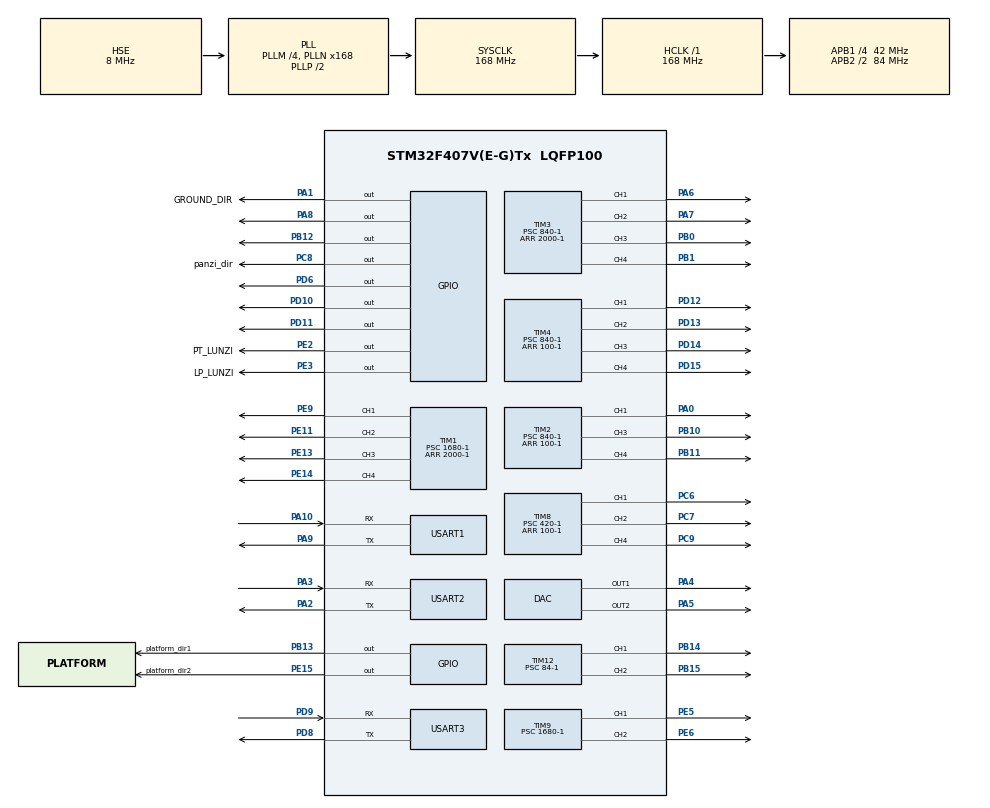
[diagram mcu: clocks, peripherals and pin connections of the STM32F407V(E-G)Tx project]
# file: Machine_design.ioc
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DAC.DAC_OutputBuffer2=DAC_OUTPUTBUFFER_ENABLE
DAC.DAC_Trigger2=DAC_TRIGGER_NONE
Dma.Request0=USART2_RX
Dma.Request1=USART2_TX
Dma.Request2=USART1_RX
Dma.Request3=USART1_TX
Dma.Request4=USART3_RX
Dma.Request5=USART3_TX
Dma.USART1_RX.2.Direction=DMA_PERIPH_TO_MEMORY
Dma.USART1_RX.2.FIFOMode=DMA_FIFOMODE_DISABLE
Dma.USART1_RX.2.Instance=DMA2_Stream2
Dma.USART1_RX.2.MemDataAlignment=DMA_MDATAALIGN_BYTE
Dma.USART1_RX.2.MemInc=DMA_MINC_ENABLE
Dma.USART1_RX.2.Mode=DMA_NORMAL
Dma.USART1_RX.2.PeriphDataAlignment=DMA_PDATAALIGN_BYTE
Dma.USART1_RX.2.PeriphInc=DMA_PINC_DISABLE
Dma.USART1_RX.2.Priority=DMA_PRIORITY_LOW
Dma.USART1_TX.3.Direction=DMA_MEMORY_TO_PERIPH
Dma.USART1_TX.3.FIFOMode=DMA_FIFOMODE_DISABLE
Dma.USART1_TX.3.Instance=DMA2_Stream7
Dma.USART1_TX.3.MemDataAlignment=DMA_MDATAALIGN_BYTE
Dma.USART1_TX.3.MemInc=DMA_MINC_ENABLE
Dma.USART1_TX.3.Mode=DMA_NORMAL
Dma.USART1_TX.3.PeriphDataAlignment=DMA_PDATAALIGN_BYTE
Dma.USART1_TX.3.PeriphInc=DMA_PINC_DISABLE
Dma.USART1_TX.3.Priority=DMA_PRIORITY_LOW
Dma.USART2_RX.0.Direction=DMA_PERIPH_TO_MEMORY
Dma.USART2_RX.0.FIFOMode=DMA_FIFOMODE_DISABLE
Dma.USART2_RX.0.Instance=DMA1_Stream5
Dma.USART2_RX.0.MemDataAlignment=DMA_MDATAALIGN_BYTE
Dma.USART2_RX.0.MemInc=DMA_MINC_ENABLE
Dma.USART2_RX.0.Mode=DMA_NORMAL
Dma.USART2_RX.0.PeriphDataAlignment=DMA_PDATAALIGN_BYTE
Dma.USART2_RX.0.PeriphInc=DMA_PINC_DISABLE
Dma.USART2_RX.0.Priority=DMA_PRIORITY_LOW
Dma.USART2_TX.1.Direction=DMA_MEMORY_TO_PERIPH
Dma.USART2_TX.1.FIFOMode=DMA_FIFOMODE_DISABLE
Dma.USART2_TX.1.Instance=DMA1_Stream6
Dma.USART2_TX.1.MemDataAlignment=DMA_MDATAALIGN_BYTE
Dma.USART2_TX.1.MemInc=DMA_MINC_ENABLE
Dma.USART2_TX.1.Mode=DMA_NORMAL
Dma.USART2_TX.1.PeriphDataAlignment=DMA_PDATAALIGN_BYTE
Dma.USART2_TX.1.PeriphInc=DMA_PINC_DISABLE
Dma.USART2_TX.1.Priority=DMA_PRIORITY_LOW
Dma.USART3_RX.4.Direction=DMA_PERIPH_TO_MEMORY
Dma.USART3_RX.4.FIFOMode=DMA_FIFOMODE_DISABLE
Dma.USART3_RX.4.Instance=DMA1_Stream1
Dma.USART3_RX.4.MemDataAlignment=DMA_MDATAALIGN_BYTE
Dma.USART3_RX.4.MemInc=DMA_MINC_ENABLE
Dma.USART3_RX.4.Mode=DMA_NORMAL
Dma.USART3_RX.4.PeriphDataAlignment=DMA_PDATAALIGN_BYTE
Dma.USART3_RX.4.PeriphInc=DMA_PINC_DISABLE
Dma.USART3_RX.4.Priority=DMA_PRIORITY_LOW
Dma.USART3_TX.5.Direction=DMA_MEMORY_TO_PERIPH
Dma.USART3_TX.5.FIFOMode=DMA_FIFOMODE_DISABLE
Dma.USART3_TX.5.Instance=DMA1_Stream3
Dma.USART3_TX.5.MemDataAlignment=DMA_MDATAALIGN_BYTE
Dma.USART3_TX.5.MemInc=DMA_MINC_ENABLE
Dma.USART3_TX.5.Mode=DMA_NORMAL
Dma.USART3_TX.5.PeriphDataAlignment=DMA_PDATAALIGN_BYTE
Dma.USART3_TX.5.PeriphInc=DMA_PINC_DISABLE
Dma.USART3_TX.5.Priority=DMA_PRIORITY_LOW
FREERTOS.Queues01=myQueue01,16,128,1,Dynamic,NULL,NULL
FREERTOS.Tasks01=MainTask,24,256,StartMainTask,Default,NULL,Dynamic,NULL,NULL;TaskState,24,256,StartStateUart,Default,NULL,Dynamic,NULL,NULL;SecondTask,24,256,StartSecondTask,Default,NULL,Dynamic,NULL,NULL
Mcu.Family=STM32F4
Mcu.Name=STM32F407V(E-G)Tx
Mcu.Package=LQFP100
NVIC.DMA1_Stream1_IRQn=true\:5\:0\:false\:false\:true\:true\:false\:true\:true
NVIC.DMA1_Stream3_IRQn=true\:5\:0\:false\:false\:true\:true\:false\:true\:true
NVIC.DMA1_Stream5_IRQn=true\:5\:0\:false\:false\:true\:true\:false\:true\:true
NVIC.DMA1_Stream6_IRQn=true\:5\:0\:false\:false\:true\:true\:false\:true\:true
NVIC.DMA2_Stream2_IRQn=true\:5\:0\:false\:false\:true\:true\:false\:true\:true
NVIC.DMA2_Stream7_IRQn=true\:5\:0\:false\:false\:true\:true\:false\:true\:true
NVIC.PriorityGroup=NVIC_PRIORITYGROUP_4
NVIC.TIM1_BRK_TIM9_IRQn=true\:5\:0\:false\:false\:true\:true\:true\:true\:true
NVIC.TIM7_IRQn=true\:15\:0\:false\:false\:true\:false\:false\:true\:true
NVIC.TimeBase=TIM7_IRQn
NVIC.TimeBaseIP=TIM7
NVIC.USART1_IRQn=true\:5\:0\:false\:false\:true\:true\:true\:true\:true
NVIC.USART2_IRQn=true\:5\:0\:false\:false\:true\:true\:true\:true\:true
NVIC.USART3_IRQn=true\:5\:0\:false\:false\:true\:true\:true\:true\:true
PA0-WKUP.Signal=S_TIM2_CH1_ETR
PA1.GPIO_Label=GROUND_DIR
PA1.Signal=GPIO_Output
PA10.Mode=Asynchronous
PA10.Signal=USART1_RX
PA13.Mode=Serial_Wire
PA13.Signal=SYS_JTMS-SWDIO
PA14.Mode=Serial_Wire
PA14.Signal=SYS_JTCK-SWCLK
PA2.Mode=Asynchronous
PA2.Signal=USART2_TX
PA3.Mode=Asynchronous
PA3.Signal=USART2_RX
PA4.Signal=COMP_DAC1_group
PA5.Signal=COMP_DAC2_group
PA6.Signal=S_TIM3_CH1
PA7.Signal=S_TIM3_CH2
PA8.PinState=GPIO_PIN_SET
PA8.Signal=GPIO_Output
PA9.Mode=Asynchronous
PA9.Signal=USART1_TX
PB0.Signal=S_TIM3_CH3
PB1.Signal=S_TIM3_CH4
PB10.Signal=S_TIM2_CH3
PB11.Signal=S_TIM2_CH4
PB12.GPIO_ModeDefaultOutputPP=GPIO_MODE_OUTPUT_PP
PB12.PinState=GPIO_PIN_SET
PB12.Signal=GPIO_Output
PB13.GPIO_Label=platform_dir1
PB13.Signal=GPIO_Output
PB14.Signal=S_TIM12_CH1
PB15.Signal=S_TIM12_CH2
PC6.Signal=S_TIM8_CH1
PC7.Signal=S_TIM8_CH2
PC8.GPIO_Label=panzi_dir
PC8.Signal=GPIO_Output
PC9.Signal=S_TIM8_CH4
PD10.GPIO_ModeDefaultOutputPP=GPIO_MODE_OUTPUT_PP
PD10.PinState=GPIO_PIN_SET
PD10.Signal=GPIO_Output
PD11.PinState=GPIO_PIN_RESET
PD11.Signal=GPIO_Output
PD12.Signal=S_TIM4_CH1
PD13.Signal=S_TIM4_CH2
PD14.Signal=S_TIM4_CH3
PD15.Signal=S_TIM4_CH4
PD6.PinState=GPIO_PIN_RESET
PD6.Signal=GPIO_Output
PD8.Mode=Asynchronous
PD8.Signal=USART3_TX
PD9.Mode=Asynchronous
PD9.Signal=USART3_RX
PE11.Signal=S_TIM1_CH2
PE13.Signal=S_TIM1_CH3
PE14.Signal=S_TIM1_CH4
PE15.GPIO_Label=platform_dir2
PE15.Signal=GPIO_Output
PE2.GPIO_Label=PT_LUNZI
PE2.Signal=GPIO_Output
PE3.GPIO_Label=LP_LUNZI
PE3.Signal=GPIO_Output
PE5.Signal=S_TIM9_CH1
PE6.Signal=S_TIM9_CH2
PE9.Signal=S_TIM1_CH1
PH0-OSC_IN.Mode=HSE-External-Oscillator
PH0-OSC_IN.Signal=RCC_OSC_IN
PH1-OSC_OUT.Mode=HSE-External-Oscillator
PH1-OSC_OUT.Signal=RCC_OSC_OUT
ProjectManager.HeapSize=0x200
ProjectManager.StackSize=0x400
ProjectManager.TargetToolchain=MDK-ARM V5.32
RCC.48MHZClocksFreq_Value=84000000
RCC.AHBFreq_Value=168000000
RCC.APB1CLKDivider=RCC_HCLK_DIV4
RCC.APB1Freq_Value=42000000
RCC.APB1TimFreq_Value=84000000
RCC.APB2CLKDivider=RCC_HCLK_DIV2
RCC.APB2Freq_Value=84000000
RCC.APB2TimFreq_Value=168000000
RCC.CortexFreq_Value=168000000
RCC.HCLKFreq_Value=168000000
RCC.HSE_VALUE=8000000
RCC.HSI_VALUE=16000000
RCC.LSE_VALUE=32768
RCC.PLLM=4
RCC.PLLN=168
RCC.PLLSourceVirtual=RCC_PLLSOURCE_HSE
RCC.SYSCLKFreq_VALUE=168000000
RCC.SYSCLKSource=RCC_SYSCLKSOURCE_PLLCLK
RCC.VCOOutputFreq_Value=336000000
SH.COMP_DAC1_group.0=DAC_OUT1,DAC_OUT1
SH.COMP_DAC2_group.0=DAC_OUT2,DAC_OUT2
SH.S_TIM12_CH1.0=TIM12_CH1,PWM Generation1 CH1
SH.S_TIM12_CH2.0=TIM12_CH2,PWM Generation2 CH2
SH.S_TIM1_CH1.0=TIM1_CH1,PWM Generation1 CH1
SH.S_TIM1_CH2.0=TIM1_CH2,PWM Generation2 CH2
SH.S_TIM1_CH3.0=TIM1_CH3,PWM Generation3 CH3
SH.S_TIM1_CH4.0=TIM1_CH4,PWM Generation4 CH4
SH.S_TIM2_CH1_ETR.0=TIM2_CH1,PWM Generation1 CH1
SH.S_TIM2_CH3.0=TIM2_CH3,PWM Generation3 CH3
SH.S_TIM2_CH4.0=TIM2_CH4,PWM Generation4 CH4
SH.S_TIM3_CH1.0=TIM3_CH1,PWM Generation1 CH1
SH.S_TIM3_CH2.0=TIM3_CH2,PWM Generation2 CH2
SH.S_TIM3_CH3.0=TIM3_CH3,PWM Generation3 CH3
SH.S_TIM3_CH4.0=TIM3_CH4,PWM Generation4 CH4
SH.S_TIM4_CH1.0=TIM4_CH1,PWM Generation1 CH1
SH.S_TIM4_CH2.0=TIM4_CH2,PWM Generation2 CH2
SH.S_TIM4_CH3.0=TIM4_CH3,PWM Generation3 CH3
SH.S_TIM4_CH4.0=TIM4_CH4,PWM Generation4 CH4
SH.S_TIM8_CH1.0=TIM8_CH1,PWM Generation1 CH1
SH.S_TIM8_CH2.0=TIM8_CH2,PWM Generation2 CH2
SH.S_TIM8_CH4.0=TIM8_CH4,PWM Generation4 CH4
SH.S_TIM9_CH1.0=TIM9_CH1,PWM Generation1 CH1
SH.S_TIM9_CH2.0=TIM9_CH2,PWM Generation2 CH2
TIM1.AutoReloadPreload=TIM_AUTORELOAD_PRELOAD_ENABLE
TIM1.Channel-PWM\ Generation1\ CH1=TIM_CHANNEL_1
TIM1.Channel-PWM\ Generation2\ CH2=TIM_CHANNEL_2
TIM1.Channel-PWM\ Generation3\ CH3=TIM_CHANNEL_3
TIM1.Channel-PWM\ Generation4\ CH4=TIM_CHANNEL_4
TIM1.Period=2000-1
TIM1.Prescaler=1680-1
TIM12.AutoReloadPreload=TIM_AUTORELOAD_PRELOAD_ENABLE
TIM12.Channel-PWM\ Generation1\ CH1=TIM_CHANNEL_1
TIM12.Channel-PWM\ Generation2\ CH2=TIM_CHANNEL_2
TIM12.Period=100-1
TIM12.Prescaler=84-1
TIM2.AutoReloadPreload=TIM_AUTORELOAD_PRELOAD_ENABLE
TIM2.Channel-PWM\ Generation1\ CH1=TIM_CHANNEL_1
TIM2.Channel-PWM\ Generation3\ CH3=TIM_CHANNEL_3
TIM2.Channel-PWM\ Generation4\ CH4=TIM_CHANNEL_4
TIM2.Period=100-1
TIM2.Prescaler=840-1
TIM3.AutoReloadPreload=TIM_AUTORELOAD_PRELOAD_ENABLE
TIM3.Channel-PWM\ Generation1\ CH1=TIM_CHANNEL_1
TIM3.Channel-PWM\ Generation2\ CH2=TIM_CHANNEL_2
TIM3.Channel-PWM\ Generation3\ CH3=TIM_CHANNEL_3
TIM3.Channel-PWM\ Generation4\ CH4=TIM_CHANNEL_4
TIM3.Period=2000-1
TIM3.Prescaler=840-1
TIM4.AutoReloadPreload=TIM_AUTORELOAD_PRELOAD_ENABLE
TIM4.Channel-PWM\ Generation1\ CH1=TIM_CHANNEL_1
TIM4.Channel-PWM\ Generation2\ CH2=TIM_CHANNEL_2
TIM4.Channel-PWM\ Generation3\ CH3=TIM_CHANNEL_3
TIM4.Channel-PWM\ Generation4\ CH4=TIM_CHANNEL_4
TIM4.Period=100-1
TIM4.Prescaler=840-1
TIM8.AutoReloadPreload=TIM_AUTORELOAD_PRELOAD_ENABLE
TIM8.Channel-PWM\ Generation1\ CH1=TIM_CHANNEL_1
TIM8.Channel-PWM\ Generation2\ CH2=TIM_CHANNEL_2
TIM8.Channel-PWM\ Generation4\ CH4=TIM_CHANNEL_4
TIM8.Period=100-1
TIM8.Prescaler=420-1
TIM9.AutoReloadPreload=TIM_AUTORELOAD_PRELOAD_ENABLE
TIM9.Channel-PWM\ Generation1\ CH1=TIM_CHANNEL_1
TIM9.Channel-PWM\ Generation2\ CH2=TIM_CHANNEL_2
TIM9.Period=100-1
TIM9.Prescaler=1680-1
USART1.VirtualMode=VM_ASYNC
USART2.VirtualMode=VM_ASYNC
USART3.VirtualMode=VM_ASYNC
VP_FREERTOS_VS_CMSIS_V2.Mode=CMSIS_V2
VP_SYS_VS_tim7.Mode=TIM7
VP_TIM12_VS_ClockSourceINT.Mode=Internal
VP_TIM1_VS_ClockSourceINT.Mode=Internal
VP_TIM2_VS_ClockSourceINT.Mode=Internal
VP_TIM3_VS_ClockSourceINT.Mode=Internal
VP_TIM4_VS_ClockSourceINT.Mode=Internal
VP_TIM8_VS_ClockSourceINT.Mode=Internal
VP_TIM9_VS_ClockSourceINT.Mode=Internal
board=custom

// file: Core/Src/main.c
/* USER CODE BEGIN Header */
/**
  ******************************************************************************
  * @file           : main.c
  * @brief          : Main program body
  ******************************************************************************
  * @attention
  *
  * Copyright (c) 2024 STMicroelectronics.
  * All rights reserved.
  *
  * This software is licensed under terms that can be found in the LICENSE file
  * in the root directory of this software component.
  * If no LICENSE file comes with this software, it is provided AS-IS.
  *
  ******************************************************************************
  */
/* USER CODE END Header */
#include "main.h"
#include "cmsis_os.h"
#include "dac.h"
#include "dma.h"
#include "tim.h"
#include "usart.h"
#include "gpio.h"

void SystemClock_Config(void);
void MX_FREERTOS_Init(void);

int main(void)
{

  /* MCU Configuration--------------------------------------------------------*/

  /* Reset of all peripherals, Initializes the Flash interface and the Systick. */
  HAL_Init();

  /* Configure the system clock */
  SystemClock_Config();

  /* Initialize all configured peripherals */
  MX_GPIO_Init();
  MX_DMA_Init();
  MX_USART2_UART_Init();
  MX_USART1_UART_Init();
  MX_TIM1_Init();
  MX_TIM2_Init();
  MX_TIM3_Init();
  MX_TIM4_Init();
  MX_TIM8_Init();
  MX_TIM9_Init();
  MX_TIM12_Init();
  MX_USART3_UART_Init();
  MX_DAC_Init();

  /* Init scheduler */
  osKernelInitialize();  /* Call init function for freertos objects (in freertos.c) */
  MX_FREERTOS_Init();

  /* Start scheduler */
  osKernelStart();
  /* We should never get here as control is now taken by the scheduler */
  /* Infinite loop */
  while (1)
  {

  }
}

void SystemClock_Config(void)
{
  RCC_OscInitTypeDef RCC_OscInitStruct = {0};
  RCC_ClkInitTypeDef RCC_ClkInitStruct = {0};

  /** Configure the main internal regulator output voltage
  */
  __HAL_RCC_PWR_CLK_ENABLE();
  __HAL_PWR_VOLTAGESCALING_CONFIG(PWR_REGULATOR_VOLTAGE_SCALE1);

  /** Initializes the RCC Oscillators according to the specified parameters
  * in the RCC_OscInitTypeDef structure.
  */
  RCC_OscInitStruct.OscillatorType = RCC_OSCILLATORTYPE_HSE;
  RCC_OscInitStruct.HSEState = RCC_HSE_ON;
  RCC_OscInitStruct.PLL.PLLState = RCC_PLL_ON;
  RCC_OscInitStruct.PLL.PLLSource = RCC_PLLSOURCE_HSE;
  RCC_OscInitStruct.PLL.PLLM = 4;
  RCC_OscInitStruct.PLL.PLLN = 168;
  RCC_OscInitStruct.PLL.PLLP = RCC_PLLP_DIV2;
  RCC_OscInitStruct.PLL.PLLQ = 4;
  if (HAL_RCC_OscConfig(&RCC_OscInitStruct) != HAL_OK)
  {
    Error_Handler();
  }

  /** Initializes the CPU, AHB and APB buses clocks
  */
  RCC_ClkInitStruct.ClockType = RCC_CLOCKTYPE_HCLK|RCC_CLOCKTYPE_SYSCLK
                              |RCC_CLOCKTYPE_PCLK1|RCC_CLOCKTYPE_PCLK2;
  RCC_ClkInitStruct.SYSCLKSource = RCC_SYSCLKSOURCE_PLLCLK;
  RCC_ClkInitStruct.AHBCLKDivider = RCC_SYSCLK_DIV1;
  RCC_ClkInitStruct.APB1CLKDivider = RCC_HCLK_DIV4;
  RCC_ClkInitStruct.APB2CLKDivider = RCC_HCLK_DIV2;

  if (HAL_RCC_ClockConfig(&RCC_ClkInitStruct, FLASH_LATENCY_5) != HAL_OK)
  {
    Error_Handler();
  }
}

void HAL_TIM_PeriodElapsedCallback(TIM_HandleTypeDef *htim)
{
  if (htim->Instance == TIM7) {
    HAL_IncTick();
  }
}

void Error_Handler(void)
{
  __disable_irq();
  while (1)
  {
  }
}

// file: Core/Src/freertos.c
/* USER CODE BEGIN Header */
/**
  ******************************************************************************
  * File Name          : freertos.c
  * Description        : Code for freertos applications
  ******************************************************************************
  * @attention
  *
  * Copyright (c) 2023 STMicroelectronics.
  * All rights reserved.
  *
  * This software is licensed under terms that can be found in the LICENSE file
  * in the root directory of this software component.
  * If no LICENSE file comes with this software, it is provided AS-IS.
  *
  ******************************************************************************
  */
/* USER CODE END Header */

#include "FreeRTOS.h"
#include "task.h"
#include "main.h"
#include "cmsis_os.h"

/* USER CODE BEGIN Includes */
#include <stdio.h>
#include "usart.h"
#include "gpio.h"
#include "string.h"
#include "Control.h"
#include "tim.h"
/* USER CODE END Includes */

/* USER CODE BEGIN Variables */
uint8_t rx_buf[128];			//接收缓冲数组

/* USER CODE END Variables */
/* Definitions for MainTask */
osThreadId_t MainTaskHandle;
const osThreadAttr_t MainTask_attributes = {
  .name = "MainTask",
  .stack_size = 256 * 4,
  .priority = (osPriority_t) osPriorityNormal,
};
/* Definitions for TaskState */
osThreadId_t TaskStateHandle;
const osThreadAttr_t TaskState_attributes = {
  .name = "TaskState",
  .stack_size = 256 * 4,
  .priority = (osPriority_t) osPriorityNormal,
};
/* Definitions for SecondTask */
osThreadId_t SecondTaskHandle;
const osThreadAttr_t SecondTask_attributes = {
  .name = "SecondTask",
  .stack_size = 256 * 4,
  .priority = (osPriority_t) osPriorityNormal,
};
/* Definitions for myQueue01 */
osMessageQueueId_t myQueue01Handle;
const osMessageQueueAttr_t myQueue01_attributes = {
  .name = "myQueue01"
};

void StartMainTask(void *argument);
void StartStateUart(void *argument);
void StartSecondTask(void *argument);

void MX_FREERTOS_Init(void); /* (MISRA C 2004 rule 8.1) */

void MX_FREERTOS_Init(void) {

  /* Create the queue(s) */
  /* creation of myQueue01 */
  myQueue01Handle = osMessageQueueNew (16, 128, &myQueue01_attributes);

  /* Create the thread(s) */
  /* creation of MainTask */
  MainTaskHandle = osThreadNew(StartMainTask, NULL, &MainTask_attributes);

  /* creation of TaskState */
  TaskStateHandle = osThreadNew(StartStateUart, NULL, &TaskState_attributes);

  /* creation of SecondTask */
  SecondTaskHandle = osThreadNew(StartSecondTask, NULL, &SecondTask_attributes);

}

void StartMainTask(void *argument)
{
  /* USER CODE BEGIN StartMainTask */
  HAL_UARTEx_ReceiveToIdle_DMA(&huart2,rx_buf,127);			//�????????????启DMA空闲接收中断
  SE_init();//初始�????????????
  osDelay(1000);

  while(1){
     osDelay(1);
     if(start == 1)break;//等待串口发�?�启动指�????????????
  }
  con1_half();
  start=2;
  first_half();

  /* Infinite lo26 */
  for(;;)
  {
    osDelay(1);
  }
  /* USER CODE END StartMainTask */
}

void StartStateUart(void *argument)
{
  /* USER CODE BEGIN StartStateUart */
  char dat[128];			//定义消息队列读取缓冲
  /* Infinite loop */
  for(;;)
  {
    if(osMessageQueueGet(myQueue01Handle,dat,NULL,10) == osOK){//接收到串口数�????????????
      if(strstr(dat,"start") == dat){
        start = 1;
      }
		}
    switch(send_state){
      case 1:
        printf("ground1.pic=33\xff\xff\xff");
        send_state = 0;
        break;
      case 2:
        printf("zhong.pic=34\xff\xff\xff");
        send_state = 0;
        break;
      case 3:
        printf("cnt1.pic=35\xff\xff\xff");
        send_state = 0;
        break;
      case 4:
        printf("ground2.pic=36\xff\xff\xff");
        send_state = 0;
        break;
      case 5:
        printf("paibu.pic=37\xff\xff\xff");
        send_state = 0;
        break;
      case 6:
        printf("ground3.pic=38\xff\xff\xff");
        send_state = 0;
        break;
      case 7:
        printf("zhong2.pic=39\xff\xff\xff");
        send_state = 0;
        break;
      case 8:
        printf("cnt2.pic=40\xff\xff\xff");
        send_state = 0;
        break;
      case 9:
        printf("ground4.pic=41\xff\xff\xff");
        send_state = 0;
        break;
      case 10:
        printf("all.pic=42\xff\xff\xff");
        send_state = 0;
        break;
    }
    osDelay(1);
  }
  /* USER CODE END StartStateUart */
}

void StartSecondTask(void *argument)
{
  /* USER CODE BEGIN StartSecondTask */
  osDelay(1000);

  while(1){
     osDelay(1);
     if(start == 2)break;//等待串口发�?�启动指�????????????
  }
  con2_half();
  second_half();

  /* Infinite loop */
  for(;;)
  {
    osDelay(1);
  }
  /* USER CODE END StartSecondTask */
}

/* USER CODE BEGIN Application */
void HAL_UARTEx_RxEventCallback(UART_HandleTypeDef*huart,uint16_t Size){
	if(huart == &huart2){
		HAL_UART_DMAStop(huart);
		rx_buf[Size] = '\0';
		osMessageQueuePut(myQueue01Handle,rx_buf,NULL,0);
		__HAL_UNLOCK(huart);
		HAL_UARTEx_ReceiveToIdle_DMA(huart,rx_buf,127);
	}
}
/* USER CODE END Application */
